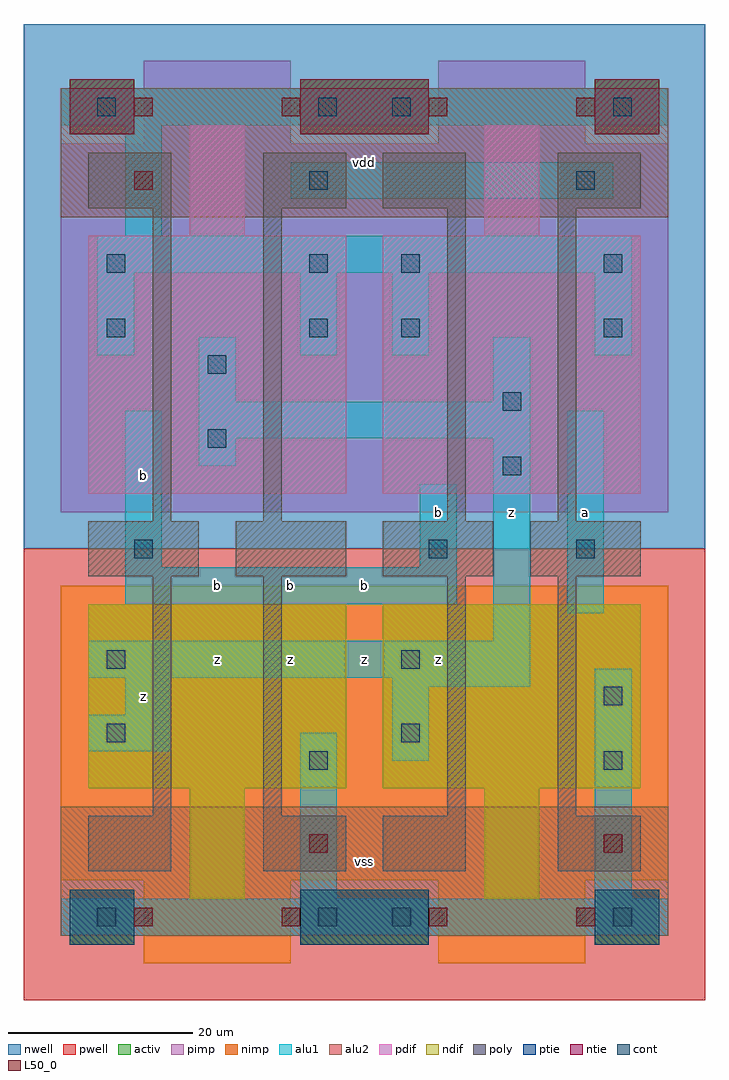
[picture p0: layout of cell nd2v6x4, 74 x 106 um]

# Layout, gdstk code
import gdstk
lib = gdstk.Library(unit=1e-6, precision=1e-09)
def R(c, l, rs):  # rectangles x0, y0, x1, y1
    for r in rs: c.add(gdstk.rectangle(r[:2], r[2:], *l))
def A(c, l, x, y, w, h, nx, ny, dx, dy):  # array of equal rectangles
    R(c, l, [(x+i*dx, y+j*dy, x+i*dx+w, y+j*dy+h) for i in range(nx) for j in range(ny)])
ndif = (3, 0)
pdif = (4, 0)
ntie = (5, 0)
ptie = (6, 0)
cont = (25, 0)
pwell = (41, 0)
nwell = (42, 0)
activ = (43, 0)
pimp = (44, 0)
nimp = (45, 0)
poly = (46, 0)
alu1 = (49, 0)
L50_0 = (50, 0)
alu2 = (51, 0)

nd2v6x4 = lib.new_cell('nd2v6x4')
R(nd2v6x4, ndif, [(13,2,19,14), (45,2,51,14), (2,14,30,34), (34,14,62,34)])
R(nd2v6x4, pdif, [(2,46,30,74), (34,46,62,74), (13,74,19,86), (45,74,51,86)])
R(nd2v6x4, ntie, [(0,85,7,91), (25,85,39,91), (57,85,64,91)])
R(nd2v6x4, ptie, [(0,-3,7,3), (25,-3,39,3), (57,-3,64,3)])
R(nd2v6x4, cont, [(3,-1,5,1), (27,-1,29,1), (35,-1,37,1), (59,-1,61,1), (26,16,28,18), (58,16,60,18), (4,19,6,21), (36,19,38,21), (58,23,60,25), (4,27,6,29), (36,27,38,29), (7,39,9,41), (39,39,41,41), (55,39,57,41), (47,48,49,50), (15,51,17,53), (47,55,49,57), (15,59,17,61), (4,63,6,65), (26,63,28,65), (36,63,38,65), (58,63,60,65), (4,70,6,72), (26,70,28,72), (36,70,38,72), (58,70,60,72), (26,79,28,81), (55,79,57,81), (3,87,5,89), (27,87,29,89), (35,87,37,89), (59,87,61,89)])
R(nd2v6x4, pwell, [(-5,-9,69,40)])
R(nd2v6x4, nwell, [(-5,40,69,97)])
R(nd2v6x4, activ, [(0,-3,7,3), (25,-3,39,3), (57,-3,64,3), (13,2,19,14), (45,2,51,14), (2,14,30,34), (34,14,62,34), (2,46,30,74), (34,46,62,74), (13,74,19,86), (45,74,51,86), (0,85,7,91), (25,85,39,91), (57,85,64,91)])
R(nd2v6x4, pimp, [(-1,44,65,84), (8,84,24,93), (40,84,56,93)])
R(nd2v6x4, nimp, [(8,-5,24,4), (40,-5,56,4), (-1,4,65,36)])
A(nd2v6x4, poly, 2, 37, 12, 6, 4, 1, 16, 0)
R(nd2v6x4, poly, [(2,5,11,11), (21,5,30,11), (34,5,43,11), (53,5,62,11), (9,11,11,37), (21,11,23,37), (41,11,43,37), (53,11,55,37), (9,43,11,77), (21,43,23,77), (41,43,43,77), (53,43,55,77), (2,77,11,83), (21,77,30,83), (34,77,43,83), (53,77,62,83)])
R(nd2v6x4, alu1, [(-1,-2,65,2), (25,2,29,20), (57,2,61,27), (35,17,39,25), (2,18,11,22), (6,22,11,26), (35,25,50,26), (2,26,50,30), (46,30,50,52), (54,33,58,55), (6,34,42,38), (6,38,10,55), (38,38,42,47), (14,49,18,52), (14,52,50,56), (14,56,18,63), (46,56,50,63), (3,61,7,70), (25,61,29,70), (35,61,39,70), (57,61,61,70), (3,70,61,74), (6,74,10,86), (24,78,59,82), (-1,86,65,90)])
A(nd2v6x4, L50_0, 7, -1, 2, 2, 4, 2, 16, 88)
R(nd2v6x4, L50_0, [(26,7,28,9), (58,7,60,9), (7,79,9,81)])
R(nd2v6x4, alu2, [(-1,-2,65,12), (-1,76,65,90)])
nd2v6x4.add(gdstk.Label('z', (8,24), layer=49, texttype=0))
nd2v6x4.add(gdstk.Label('b', (8,48), layer=49, texttype=0))
nd2v6x4.add(gdstk.Label('z', (16,28), layer=49, texttype=0))
nd2v6x4.add(gdstk.Label('b', (16,36), layer=49, texttype=0))
nd2v6x4.add(gdstk.Label('b', (24,36), layer=49, texttype=0))
nd2v6x4.add(gdstk.Label('z', (24,28), layer=49, texttype=0))
nd2v6x4.add(gdstk.Label('z', (32,28), layer=49, texttype=0))
nd2v6x4.add(gdstk.Label('b', (32,36), layer=49, texttype=0))
nd2v6x4.add(gdstk.Label('z', (40,28), layer=49, texttype=0))
nd2v6x4.add(gdstk.Label('b', (40,44), layer=49, texttype=0))
nd2v6x4.add(gdstk.Label('a', (56,44), layer=49, texttype=0))
nd2v6x4.add(gdstk.Label('z', (48,44), layer=49, texttype=0))
nd2v6x4.add(gdstk.Label('vss', (32,6), layer=51, texttype=0))
nd2v6x4.add(gdstk.Label('vdd', (32,82), layer=51, texttype=0))

lib.write_gds('nd2v6x4.gds')
